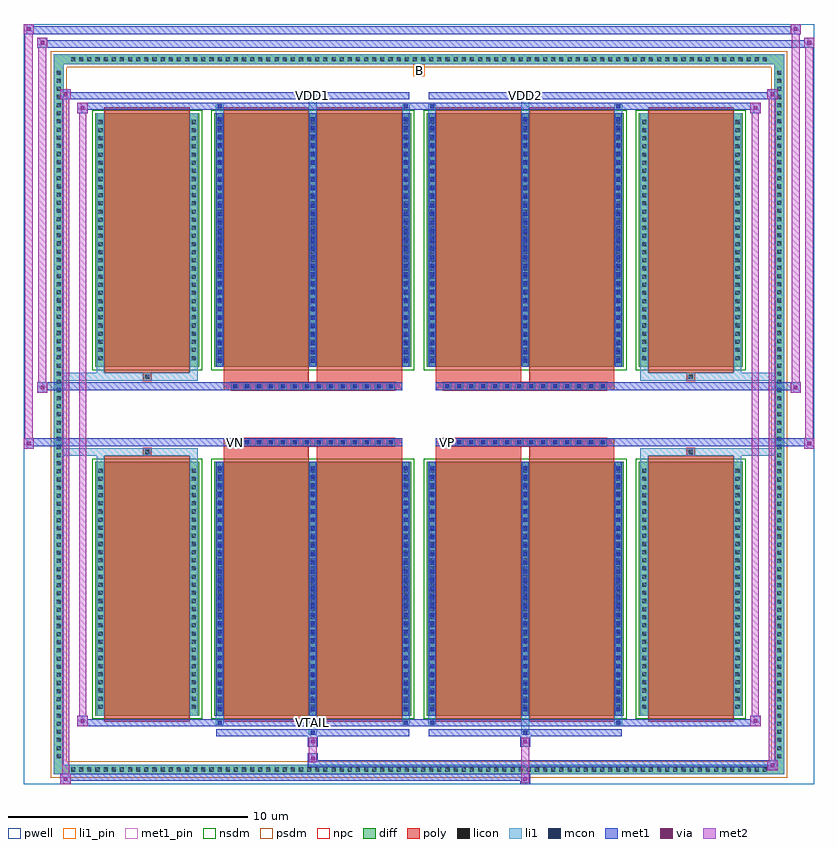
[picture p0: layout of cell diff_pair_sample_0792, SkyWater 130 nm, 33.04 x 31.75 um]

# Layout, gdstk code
import gdstk
lib = gdstk.Library(unit=1e-6, precision=5e-09)
def R(c, l, rs):  # rectangles x0, y0, x1, y1
    for r in rs: c.add(gdstk.rectangle(r[:2], r[2:], *l))
def A(c, l, x, y, w, h, nx, ny, dx, dy):  # array of equal rectangles
    R(c, l, [(x+i*dx, y+j*dy, x+i*dx+w, y+j*dy+h) for i in range(nx) for j in range(ny)])
def P(c, l, *ps):  # polygons
    for p in ps: c.add(gdstk.Polygon(p, *l))
pwell = (64, 44)
diff = (65, 20)
poly = (66, 20)
licon = (66, 44)
li1_pin = (67, 16)
li1 = (67, 20)
mcon = (67, 44)
met1_pin = (68, 16)
met1 = (68, 20)
via = (68, 44)
met2 = (69, 20)
nsdm = (93, 44)
psdm = (94, 20)
npc = (95, 20)

diff_pair_sample_0792 = lib.new_cell('diff_pair_sample_0792')
R(diff_pair_sample_0792, pwell, [(-16.52,-15.44,16.52,16.31), (-13.84,-13.63,-0.01,-0.805), (0.01,-13.63,13.84,-0.805), (-13.84,0.805,-0.01,13.63), (0.01,0.805,13.84,13.63)])
A(diff_pair_sample_0792, diff, -14.655, -15.04, 0.41, 0.41, 86, 2, 0.34, 29.67)
A(diff_pair_sample_0792, diff, -15.25, -14.485, 0.41, 0.41, 1, 85, 0, 0.34)
A(diff_pair_sample_0792, diff, 14.84, -14.485, 0.41, 0.41, 1, 85, 0, 0.34)
R(diff_pair_sample_0792, diff, [(-14.655,-15.04,14.655,-14.63), (-15.25,-14.485,-14.84,14.485), (14.84,-14.485,15.25,14.485), (-13.53,-12.585,-9.19,-1.985), (-8.55,-12.585,-0.32,-1.985), (0.32,-12.585,8.55,-1.985), (9.19,-12.585,13.53,-1.985), (-13.53,1.985,-9.19,12.585), (-8.55,1.985,-0.32,12.585), (0.32,1.985,8.55,12.585), (9.19,1.985,13.53,12.585), (-14.655,14.63,14.655,15.04)])
P(diff_pair_sample_0792, diff, [(15.25,15.04),(-15.25,15.04),(-15.25,-14.63),(-14.84,-14.63),(-14.84,14.63),(14.84,14.63),(14.84,-14.63),(-14.84,-14.63),(-15.25,-14.63),(-15.25,-15.04),(15.25,-15.04)])
A(diff_pair_sample_0792, poly, -7.85, -1.335, 0.33, 0.33, 14, 2, 0.5, 2.34)
A(diff_pair_sample_0792, poly, 1.02, -1.335, 0.33, 0.33, 14, 2, 0.5, 2.34)
R(diff_pair_sample_0792, poly, [(-13.14,-12.835,-9.58,-1.735), (-8.16,-12.835,-4.6,-1.735), (-4.27,-12.835,-0.71,-1.735), (0.71,-12.835,4.27,-1.735), (4.6,-12.835,8.16,-1.735), (9.58,-12.835,13.14,-1.735), (-11.525,-1.735,-11.195,-1.405), (-11.525,-1.735,-11.195,-1.405), (-8.16,-1.735,-4.6,-1.335), (-4.27,-1.735,-0.71,-1.335), (0.71,-1.735,4.27,-1.335), (4.6,-1.735,8.16,-1.335), (11.195,-1.735,11.525,-1.405), (11.195,-1.735,11.525,-1.405), (-8.16,-1.335,-0.71,-1.005), (0.71,-1.335,8.16,-1.005), (-8.16,1.005,-0.71,1.335), (0.71,1.005,8.16,1.335), (-8.16,1.335,-4.6,1.735), (-4.27,1.335,-0.71,1.735), (0.71,1.335,4.27,1.735), (4.6,1.335,8.16,1.735), (-11.525,1.405,-11.195,1.735), (-11.525,1.405,-11.195,1.735), (11.195,1.405,11.525,1.735), (11.195,1.405,11.525,1.735), (-13.14,1.735,-9.58,12.835), (-8.16,1.735,-4.6,12.835), (-4.27,1.735,-0.71,12.835), (0.71,1.735,4.27,12.835), (4.6,1.735,8.16,12.835), (9.58,1.735,13.14,12.835)])
A(diff_pair_sample_0792, licon, -14.535, -14.92, 0.17, 0.17, 86, 2, 0.34, 29.67)
A(diff_pair_sample_0792, licon, -15.13, -14.365, 0.17, 0.17, 1, 85, 0, 0.34)
A(diff_pair_sample_0792, licon, 14.96, -14.365, 0.17, 0.17, 1, 85, 0, 0.34)
A(diff_pair_sample_0792, licon, -13.39, -12.3, 0.17, 0.17, 1, 30, 0, 0.34)
A(diff_pair_sample_0792, licon, -9.5, -12.3, 0.17, 0.17, 1, 30, 0, 0.34)
A(diff_pair_sample_0792, licon, -8.41, -12.3, 0.17, 0.17, 3, 30, 3.89, 0.34)
A(diff_pair_sample_0792, licon, 0.46, -12.3, 0.17, 0.17, 3, 30, 3.89, 0.34)
A(diff_pair_sample_0792, licon, 9.33, -12.3, 0.17, 0.17, 1, 30, 0, 0.34)
A(diff_pair_sample_0792, licon, 13.22, -12.3, 0.17, 0.17, 1, 30, 0, 0.34)
A(diff_pair_sample_0792, licon, -7.77, -1.255, 0.17, 0.17, 14, 2, 0.5, 2.34)
A(diff_pair_sample_0792, licon, 1.1, -1.255, 0.17, 0.17, 14, 2, 0.5, 2.34)
A(diff_pair_sample_0792, licon, -13.39, 2.27, 0.17, 0.17, 1, 30, 0, 0.34)
A(diff_pair_sample_0792, licon, -9.5, 2.27, 0.17, 0.17, 1, 30, 0, 0.34)
A(diff_pair_sample_0792, licon, -8.41, 2.27, 0.17, 0.17, 3, 30, 3.89, 0.34)
A(diff_pair_sample_0792, licon, 0.46, 2.27, 0.17, 0.17, 3, 30, 3.89, 0.34)
A(diff_pair_sample_0792, licon, 9.33, 2.27, 0.17, 0.17, 1, 30, 0, 0.34)
A(diff_pair_sample_0792, licon, 13.22, 2.27, 0.17, 0.17, 1, 30, 0, 0.34)
R(diff_pair_sample_0792, licon, [(-11.445,-1.655,-11.275,-1.485), (11.275,-1.655,11.445,-1.485), (-11.445,1.485,-11.275,1.655), (11.275,1.485,11.445,1.655)])
R(diff_pair_sample_0792, li1_pin, [(-0.25,14.13,0.25,14.63)])
A(diff_pair_sample_0792, li1, -14.615, -15, 0.33, 0.33, 86, 2, 0.34, 29.67)
A(diff_pair_sample_0792, li1, -15.21, -14.445, 0.33, 0.33, 1, 85, 0, 0.34)
A(diff_pair_sample_0792, li1, 14.88, -14.445, 0.33, 0.33, 1, 85, 0, 0.34)
A(diff_pair_sample_0792, li1, -8.49, -12.585, 0.33, 10.6, 3, 2, 3.89, 14.57)
A(diff_pair_sample_0792, li1, 0.38, -12.585, 0.33, 10.6, 3, 2, 3.89, 14.57)
A(diff_pair_sample_0792, li1, -8.41, -12.41, 0.17, 0.17, 3, 29, 3.89, 0.36)
A(diff_pair_sample_0792, li1, -8.41, -12.41, 0.17, 10.25, 3, 2, 3.89, 14.57)
A(diff_pair_sample_0792, li1, 0.46, -12.41, 0.17, 0.17, 3, 29, 3.89, 0.36)
A(diff_pair_sample_0792, li1, 0.46, -12.41, 0.17, 10.25, 3, 2, 3.89, 14.57)
A(diff_pair_sample_0792, li1, -13.47, -12.38, 0.33, 0.33, 1, 30, 0, 0.34)
A(diff_pair_sample_0792, li1, -9.58, -12.38, 0.33, 0.33, 1, 30, 0, 0.34)
A(diff_pair_sample_0792, li1, -8.49, -12.38, 0.33, 0.33, 3, 30, 3.89, 0.34)
A(diff_pair_sample_0792, li1, 0.38, -12.38, 0.33, 0.33, 3, 30, 3.89, 0.34)
A(diff_pair_sample_0792, li1, 9.25, -12.38, 0.33, 0.33, 1, 30, 0, 0.34)
A(diff_pair_sample_0792, li1, 13.14, -12.38, 0.33, 0.33, 1, 30, 0, 0.34)
A(diff_pair_sample_0792, li1, -7.85, -1.335, 0.33, 0.33, 14, 2, 0.5, 2.34)
A(diff_pair_sample_0792, li1, 1.02, -1.335, 0.33, 0.33, 14, 2, 0.5, 2.34)
A(diff_pair_sample_0792, li1, -8.41, 2.16, 0.17, 0.17, 3, 29, 3.89, 0.36)
A(diff_pair_sample_0792, li1, 0.46, 2.16, 0.17, 0.17, 3, 29, 3.89, 0.36)
A(diff_pair_sample_0792, li1, -13.47, 2.19, 0.33, 0.33, 1, 30, 0, 0.34)
A(diff_pair_sample_0792, li1, -9.58, 2.19, 0.33, 0.33, 1, 30, 0, 0.34)
A(diff_pair_sample_0792, li1, -8.49, 2.19, 0.33, 0.33, 3, 30, 3.89, 0.34)
A(diff_pair_sample_0792, li1, 0.38, 2.19, 0.33, 0.33, 3, 30, 3.89, 0.34)
A(diff_pair_sample_0792, li1, 9.25, 2.19, 0.33, 0.33, 1, 30, 0, 0.34)
A(diff_pair_sample_0792, li1, 13.14, 2.19, 0.33, 0.33, 1, 30, 0, 0.34)
R(diff_pair_sample_0792, li1, [(-15.25,-15.04,-14.84,-14.63), (-15.25,-15.04,-14.84,-14.63), (-14.84,-15.04,14.84,-14.63), (14.84,-15.04,15.25,-14.63), (14.84,-15.04,15.25,-14.63), (-15.25,-14.63,-14.84,14.63), (14.84,-14.63,15.25,14.63), (-4.6,-13.39,-4.27,-12.585), (-4.52,-13.39,-4.35,-13.22), (4.27,-13.39,4.6,-12.585), (4.35,-13.39,4.52,-13.22), (-8.49,-12.96,-8.16,-12.585), (-8.41,-12.96,-8.24,-12.79), (-0.71,-12.96,-0.38,-12.585), (-0.63,-12.96,-0.46,-12.79), (0.38,-12.96,0.71,-12.585), (0.46,-12.96,0.63,-12.79), (8.16,-12.96,8.49,-12.585), (8.24,-12.96,8.41,-12.79), (-13.47,-12.585,-13.14,-1.985), (-9.58,-12.585,-9.25,-1.985), (9.25,-12.585,9.58,-1.985), (13.14,-12.585,13.47,-1.985), (-13.47,-1.985,-13.14,-1.405), (-9.58,-1.985,-9.25,-1.405), (9.25,-1.985,9.58,-1.405), (13.14,-1.985,13.47,-1.405), (-15.25,-1.735,-11.525,-1.405), (-13.47,-1.735,-11.525,-1.405), (-11.525,-1.735,-11.195,-1.405), (-11.195,-1.735,-9.25,-1.405), (9.25,-1.735,11.195,-1.405), (11.195,-1.735,11.525,-1.405), (11.195,-1.735,15.25,-1.405), (11.525,-1.735,13.47,-1.405), (-15.25,1.405,-11.525,1.735), (-13.47,1.405,-11.525,1.735), (-13.47,1.405,-13.14,1.985), (-11.525,1.405,-11.195,1.735), (-11.195,1.405,-9.25,1.735), (-9.58,1.405,-9.25,1.985), (9.25,1.405,11.195,1.735), (9.25,1.405,9.58,1.985), (11.195,1.405,11.525,1.735), (11.195,1.405,15.25,1.735), (11.525,1.405,13.47,1.735), (13.14,1.405,13.47,1.985), (-13.47,1.985,-13.14,12.585), (-9.58,1.985,-9.25,12.585), (9.25,1.985,9.58,12.585), (13.14,1.985,13.47,12.585), (-8.49,12.585,-8.16,12.96), (-4.6,12.585,-4.27,13.39), (-0.71,12.585,-0.38,12.96), (0.38,12.585,0.71,12.96), (4.27,12.585,4.6,13.39), (8.16,12.585,8.49,12.96), (-8.41,12.79,-8.24,12.96), (-0.63,12.79,-0.46,12.96), (0.46,12.79,0.63,12.96), (8.24,12.79,8.41,12.96), (-4.52,13.22,-4.35,13.39), (4.35,13.22,4.52,13.39), (-15.25,14.63,-14.84,15.04), (-15.25,14.63,-14.84,15.04), (-14.84,14.63,14.84,15.04), (14.84,14.63,15.25,15.04), (14.84,14.63,15.25,15.04)])
A(diff_pair_sample_0792, mcon, -8.41, -12.41, 0.17, 0.17, 3, 29, 3.89, 0.36)
A(diff_pair_sample_0792, mcon, 0.46, -12.41, 0.17, 0.17, 3, 29, 3.89, 0.36)
A(diff_pair_sample_0792, mcon, -7.77, -1.255, 0.17, 0.17, 14, 2, 0.5, 2.34)
A(diff_pair_sample_0792, mcon, 1.1, -1.255, 0.17, 0.17, 14, 2, 0.5, 2.34)
A(diff_pair_sample_0792, mcon, -8.41, 2.16, 0.17, 0.17, 3, 29, 3.89, 0.36)
A(diff_pair_sample_0792, mcon, 0.46, 2.16, 0.17, 0.17, 3, 29, 3.89, 0.36)
R(diff_pair_sample_0792, mcon, [(-4.52,-13.39,-4.35,-13.22), (4.35,-13.39,4.52,-13.22), (-8.41,-12.96,-8.24,-12.79), (-0.63,-12.96,-0.46,-12.79), (0.46,-12.96,0.63,-12.79), (8.24,-12.96,8.41,-12.79), (-8.41,12.79,-8.24,12.96), (-0.63,12.79,-0.46,12.96), (0.46,12.79,0.63,12.96), (8.24,12.79,8.41,12.96), (-4.52,13.22,-4.35,13.39), (4.35,13.22,4.52,13.39)])
R(diff_pair_sample_0792, met1_pin, [(-4.57,-13,-4.3,-12.73), (-7.82,-1.295,-7.55,-1.025), (1.05,-1.295,1.32,-1.025), (-4.57,13.18,-4.3,13.45), (4.3,13.18,4.57,13.45)])
A(diff_pair_sample_0792, met1, -8.47, -12.585, 0.29, 10.6, 3, 2, 3.89, 14.57)
A(diff_pair_sample_0792, met1, 0.4, -12.585, 0.29, 10.6, 3, 2, 3.89, 14.57)
A(diff_pair_sample_0792, met1, -8.47, -12.47, 0.29, 0.29, 3, 29, 3.89, 0.36)
A(diff_pair_sample_0792, met1, 0.4, -12.47, 0.29, 0.29, 3, 29, 3.89, 0.36)
A(diff_pair_sample_0792, met1, -7.83, -1.315, 0.29, 0.29, 14, 2, 0.5, 2.34)
A(diff_pair_sample_0792, met1, 1.04, -1.315, 0.29, 0.29, 14, 2, 0.5, 2.34)
A(diff_pair_sample_0792, met1, -8.47, 2.1, 0.29, 0.29, 3, 29, 3.89, 0.36)
A(diff_pair_sample_0792, met1, 0.4, 2.1, 0.29, 0.29, 3, 29, 3.89, 0.36)
R(diff_pair_sample_0792, met1, [(-14.98,-15.44,-14.55,-15.01), (4.22,-15.44,4.65,-15.01), (-14.98,-15.3,4.65,-15.01), (14.55,-14.87,14.98,-14.44), (-4.65,-14.73,14.98,-14.44), (-4.65,-14.59,-4.22,-14.16), (-4.65,-13.88,-4.22,-13.45), (4.22,-13.88,4.65,-13.45), (-8.47,-13.45,-0.4,-13.16), (-4.58,-13.45,-4.29,-13.16), (0.4,-13.45,8.47,-13.16), (4.29,-13.45,4.58,-13.16), (-14.27,-13.02,-13.84,-12.59), (-14.27,-13.02,-8.47,-12.73), (-8.47,-13.02,-8.18,-12.73), (-8.47,-13.02,-0.4,-12.73), (-0.69,-13.02,-0.4,-12.73), (-0.4,-13.02,0.4,-12.73), (0.4,-13.02,0.69,-12.73), (0.4,-13.02,8.47,-12.73), (8.18,-13.02,8.47,-12.73), (8.47,-13.02,14.27,-12.73), (13.84,-13.02,14.27,-12.59), (-16.52,-1.435,-16.09,-1.005), (16.09,-1.435,16.52,-1.005), (-16.52,-1.335,-0.71,-1.005), (-8.16,-1.335,-0.71,-1.005), (0.71,-1.335,8.16,-1.005), (0.71,-1.335,16.52,-1.005), (-15.95,0.905,-15.52,1.335), (15.52,0.905,15.95,1.335), (-15.95,1.005,-8.16,1.335), (-8.16,1.005,-0.71,1.335), (0.71,1.005,8.16,1.335), (8.16,1.005,15.95,1.335), (-14.27,12.59,-13.84,13.02), (13.84,12.59,14.27,13.02), (-14.27,12.73,-8.47,13.02), (-8.47,12.73,-8.18,13.02), (-8.47,12.73,-0.4,13.02), (-0.69,12.73,-0.4,13.02), (-0.4,12.73,0.4,13.02), (0.4,12.73,0.69,13.02), (0.4,12.73,8.47,13.02), (8.18,12.73,8.47,13.02), (8.47,12.73,14.27,13.02), (-14.98,13.16,-14.55,13.59), (-14.98,13.16,-8.47,13.45), (-8.47,13.16,-0.4,13.45), (-4.58,13.16,-4.29,13.45), (0.4,13.16,8.47,13.45), (4.29,13.16,4.58,13.45), (8.47,13.16,14.98,13.45), (14.55,13.16,14.98,13.59), (-15.95,15.31,-15.52,15.74), (-15.95,15.31,-13.84,15.64), (-13.84,15.31,13.84,15.64), (13.84,15.31,16.52,15.64), (16.09,15.31,16.52,15.74), (-16.52,15.88,-16.09,16.31), (-16.52,15.88,-13.84,16.21), (-13.84,15.88,13.84,16.21), (13.84,15.88,15.95,16.21), (15.52,15.88,15.95,16.31)])
R(diff_pair_sample_0792, via, [(-14.84,-15.3,-14.69,-15.15), (4.36,-15.3,4.51,-15.15), (14.69,-14.73,14.84,-14.58), (-4.51,-14.45,-4.36,-14.3), (-4.51,-13.74,-4.36,-13.59), (4.36,-13.74,4.51,-13.59), (-14.13,-12.88,-13.98,-12.73), (13.98,-12.88,14.13,-12.73), (-16.38,-1.295,-16.23,-1.145), (16.23,-1.295,16.38,-1.145), (-15.81,1.045,-15.66,1.195), (15.66,1.045,15.81,1.195), (-14.13,12.73,-13.98,12.88), (13.98,12.73,14.13,12.88), (-14.84,13.3,-14.69,13.45), (14.69,13.3,14.84,13.45), (-15.81,15.45,-15.66,15.6), (16.23,15.45,16.38,15.6), (-16.38,16.02,-16.23,16.17), (15.66,16.02,15.81,16.17)])
R(diff_pair_sample_0792, met2, [(-14.98,-15.44,-14.55,-15.01), (-14.91,-15.44,-14.62,13.59), (-14.62,-15.44,-14.55,-15.01), (-14.93,-15.39,-14.6,-15.06), (4.27,-15.39,4.6,-15.06), (4.27,-15.06,4.6,-13.83), (14.55,-14.87,14.98,-14.44), (14.62,-14.87,14.91,13.59), (14.91,-14.87,14.98,-14.44), (14.6,-14.82,14.93,-14.49), (-4.6,-14.54,-4.27,-14.21), (-4.6,-14.21,-4.27,-13.83), (-4.6,-13.83,-4.27,-13.5), (4.27,-13.83,4.6,-13.5), (-14.27,-13.02,-13.84,-12.59), (-14.2,-13.02,-13.91,13.02), (-13.91,-13.02,-13.84,-12.59), (13.84,-13.02,14.27,-12.59), (13.91,-13.02,14.2,13.02), (14.2,-13.02,14.27,-12.59), (-14.22,-12.97,-13.89,-12.64), (13.89,-12.97,14.22,-12.64), (-16.52,-1.435,-16.09,-1.005), (-16.47,-1.435,-16.14,16.31), (-16.14,-1.435,-16.09,-1.005), (16.09,-1.435,16.52,-1.005), (16.14,-1.435,16.47,15.74), (16.47,-1.435,16.52,-1.005), (-16.47,-1.385,-16.14,-1.055), (16.14,-1.385,16.47,-1.055), (-15.95,0.905,-15.52,1.335), (-15.9,0.905,-15.57,15.74), (-15.57,0.905,-15.52,1.335), (15.52,0.905,15.95,1.335), (15.57,0.905,15.9,16.31), (15.9,0.905,15.95,1.335), (-15.9,0.955,-15.57,1.285), (15.57,0.955,15.9,1.285), (-14.27,12.59,-13.84,13.02), (-13.91,12.59,-13.84,13.02), (13.84,12.59,14.27,13.02), (14.2,12.59,14.27,13.02), (-14.22,12.64,-13.89,12.97), (13.89,12.64,14.22,12.97), (-14.98,13.16,-14.55,13.59), (-14.62,13.16,-14.55,13.59), (14.55,13.16,14.98,13.59), (14.91,13.16,14.98,13.59), (-14.93,13.21,-14.6,13.54), (14.6,13.21,14.93,13.54), (-15.95,15.31,-15.52,15.74), (-15.57,15.31,-15.52,15.74), (16.09,15.31,16.52,15.74), (16.47,15.31,16.52,15.74), (-15.9,15.36,-15.57,15.69), (16.14,15.36,16.47,15.69), (-16.52,15.88,-16.09,16.31), (-16.14,15.88,-16.09,16.31), (15.52,15.88,15.95,16.31), (15.9,15.88,15.95,16.31), (-16.47,15.93,-16.14,16.26), (15.57,15.93,15.9,16.26)])
R(diff_pair_sample_0792, nsdm, [(-13.66,-12.715,-9.06,-1.855), (-8.68,-12.715,-0.19,-1.855), (0.19,-12.715,8.68,-1.855), (9.06,-12.715,13.66,-1.855), (-13.66,1.855,-9.06,12.715), (-8.68,1.855,-0.19,12.715), (0.19,1.855,8.68,12.715), (9.06,1.855,13.66,12.715)])
P(diff_pair_sample_0792, psdm, [(15.38,15.17),(-15.38,15.17),(-15.38,-14.5),(-14.71,-14.5),(-14.71,14.5),(14.71,14.5),(14.71,-14.5),(-14.71,-14.5),(-15.38,-14.5),(-15.38,-15.17),(15.38,-15.17)])
A(diff_pair_sample_0792, npc, -7.87, -1.355, 0.37, 0.37, 14, 2, 0.5, 2.34)
A(diff_pair_sample_0792, npc, 1, -1.355, 0.37, 0.37, 14, 2, 0.5, 2.34)
R(diff_pair_sample_0792, npc, [(-11.545,-1.755,-11.175,-1.385), (11.175,-1.755,11.545,-1.385), (-7.87,-1.355,-7,-0.985), (-7.87,-1.355,-7,-0.985), (-7.37,-1.355,-6.5,-0.985), (-7.37,-1.355,-6.5,-0.985), (-6.87,-1.355,-6,-0.985), (-6.87,-1.355,-6,-0.985), (-6.37,-1.355,-5.5,-0.985), (-6.37,-1.355,-5.5,-0.985), (-5.87,-1.355,-5,-0.985), (-5.87,-1.355,-5,-0.985), (-5.37,-1.355,-4.5,-0.985), (-5.37,-1.355,-4.5,-0.985), (-4.87,-1.355,-4,-0.985), (-4.87,-1.355,-4,-0.985), (-4.37,-1.355,-3.5,-0.985), (-4.37,-1.355,-3.5,-0.985), (-3.87,-1.355,-3,-0.985), (-3.87,-1.355,-3,-0.985), (-3.37,-1.355,-2.5,-0.985), (-3.37,-1.355,-2.5,-0.985), (-2.87,-1.355,-2,-0.985), (-2.87,-1.355,-2,-0.985), (-2.37,-1.355,-1.5,-0.985), (-2.37,-1.355,-1.5,-0.985), (-1.87,-1.355,-1,-0.985), (-1.87,-1.355,-1,-0.985), (1,-1.355,1.87,-0.985), (1,-1.355,1.87,-0.985), (1.5,-1.355,2.37,-0.985), (1.5,-1.355,2.37,-0.985), (2,-1.355,2.87,-0.985), (2,-1.355,2.87,-0.985), (2.5,-1.355,3.37,-0.985), (2.5,-1.355,3.37,-0.985), (3,-1.355,3.87,-0.985), (3,-1.355,3.87,-0.985), (3.5,-1.355,4.37,-0.985), (3.5,-1.355,4.37,-0.985), (4,-1.355,4.87,-0.985), (4,-1.355,4.87,-0.985), (4.5,-1.355,5.37,-0.985), (4.5,-1.355,5.37,-0.985), (5,-1.355,5.87,-0.985), (5,-1.355,5.87,-0.985), (5.5,-1.355,6.37,-0.985), (5.5,-1.355,6.37,-0.985), (6,-1.355,6.87,-0.985), (6,-1.355,6.87,-0.985), (6.5,-1.355,7.37,-0.985), (6.5,-1.355,7.37,-0.985), (7,-1.355,7.87,-0.985), (7,-1.355,7.87,-0.985), (-7.87,0.985,-7,1.355), (-7.87,0.985,-7,1.355), (-7.37,0.985,-6.5,1.355), (-7.37,0.985,-6.5,1.355), (-6.87,0.985,-6,1.355), (-6.87,0.985,-6,1.355), (-6.37,0.985,-5.5,1.355), (-6.37,0.985,-5.5,1.355), (-5.87,0.985,-5,1.355), (-5.87,0.985,-5,1.355), (-5.37,0.985,-4.5,1.355), (-5.37,0.985,-4.5,1.355), (-4.87,0.985,-4,1.355), (-4.87,0.985,-4,1.355), (-4.37,0.985,-3.5,1.355), (-4.37,0.985,-3.5,1.355), (-3.87,0.985,-3,1.355), (-3.87,0.985,-3,1.355), (-3.37,0.985,-2.5,1.355), (-3.37,0.985,-2.5,1.355), (-2.87,0.985,-2,1.355), (-2.87,0.985,-2,1.355), (-2.37,0.985,-1.5,1.355), (-2.37,0.985,-1.5,1.355), (-1.87,0.985,-1,1.355), (-1.87,0.985,-1,1.355), (1,0.985,1.87,1.355), (1,0.985,1.87,1.355), (1.5,0.985,2.37,1.355), (1.5,0.985,2.37,1.355), (2,0.985,2.87,1.355), (2,0.985,2.87,1.355), (2.5,0.985,3.37,1.355), (2.5,0.985,3.37,1.355), (3,0.985,3.87,1.355), (3,0.985,3.87,1.355), (3.5,0.985,4.37,1.355), (3.5,0.985,4.37,1.355), (4,0.985,4.87,1.355), (4,0.985,4.87,1.355), (4.5,0.985,5.37,1.355), (4.5,0.985,5.37,1.355), (5,0.985,5.87,1.355), (5,0.985,5.87,1.355), (5.5,0.985,6.37,1.355), (5.5,0.985,6.37,1.355), (6,0.985,6.87,1.355), (6,0.985,6.87,1.355), (6.5,0.985,7.37,1.355), (6.5,0.985,7.37,1.355), (7,0.985,7.87,1.355), (7,0.985,7.87,1.355), (-11.545,1.385,-11.175,1.755), (11.175,1.385,11.545,1.755)])
diff_pair_sample_0792.add(gdstk.Label('VTAIL', (-4.435,-12.865), layer=68, texttype=5))
diff_pair_sample_0792.add(gdstk.Label('VN', (-7.685,-1.16), layer=68, texttype=5))
diff_pair_sample_0792.add(gdstk.Label('VP', (1.185,-1.16), layer=68, texttype=5))
diff_pair_sample_0792.add(gdstk.Label('B', (0,14.38), layer=67, texttype=5))
diff_pair_sample_0792.add(gdstk.Label('VDD2', (4.435,13.315), layer=68, texttype=5))
diff_pair_sample_0792.add(gdstk.Label('VDD1', (-4.435,13.315), layer=68, texttype=5))

lib.write_gds('diff_pair_sample_0792.gds')
